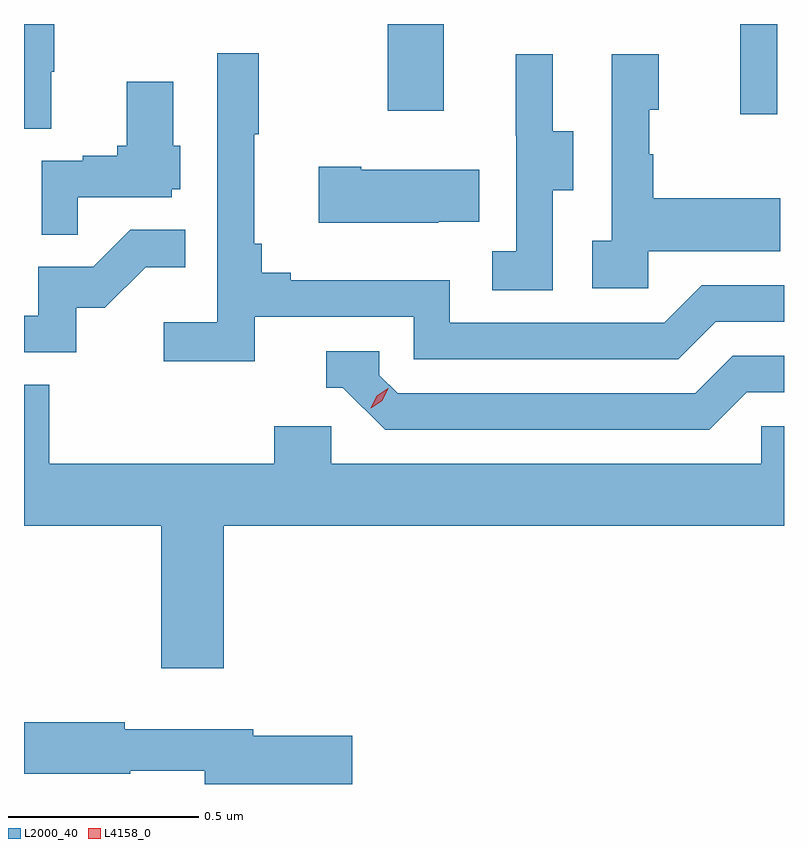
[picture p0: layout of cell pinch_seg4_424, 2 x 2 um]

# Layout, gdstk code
import gdstk
lib = gdstk.Library(unit=1e-6, precision=1e-09)
def R(c, l, rs):  # rectangles x0, y0, x1, y1
    for r in rs: c.add(gdstk.rectangle(r[:2], r[2:], *l))
def P(c, l, *ps):  # polygons
    for p in ps: c.add(gdstk.Polygon(p, *l))
L2000_40 = (2000, 40)
L4158_0 = (4158, 0)

pinch_seg4_424 = lib.new_cell('pinch_seg4_424')
R(pinch_seg4_424, L2000_40, [(1017.68,787.248,1017.777,787.485), (1016.752,787.257,1016.899,787.485)])
P(pinch_seg4_424, L2000_40, [(1015.867,787.359),(1015.875,787.359),(1015.875,787.485),(1015.795,787.485),(1015.795,787.21),(1015.867,787.21)],
  [(1016.402,786.714),(1016.82,786.714),(1016.82,786.603),(1017.517,786.603),(1017.616,786.702),(1017.795,786.702),(1017.795,786.798),(1017.579,786.798),(1017.48,786.699),(1016.916,786.699),(1016.916,786.811),(1016.497,786.811),(1016.497,786.83),(1016.42,786.83),(1016.42,786.907),(1016.401,786.907),(1016.401,787.195),(1016.413,787.195),(1016.413,787.408),(1016.304,787.408),(1016.304,786.7),(1016.163,786.7),(1016.163,786.598),(1016.402,786.598)],
  [(1017.186,787.048),(1017.241,787.048),(1017.241,787.203),(1017.187,787.203),(1017.187,787.405),(1017.089,787.405),(1017.089,787.191),(1017.09,787.191),(1017.09,786.887),(1017.027,786.887),(1017.027,786.784),(1017.186,786.784)],
  [(1017.438,786.887),(1017.785,786.887),(1017.785,787.027),(1017.451,787.027),(1017.451,787.142),(1017.441,787.142),(1017.441,787.26),(1017.466,787.26),(1017.466,787.405),(1017.342,787.405),(1017.342,786.914),(1017.291,786.914),(1017.291,786.789),(1017.438,786.789)],
  [(1015.937,787.029),(1016.184,787.029),(1016.184,787.05),(1016.206,787.05),(1016.206,787.164),(1016.188,787.164),(1016.188,787.333),(1016.066,787.333),(1016.066,787.164),(1016.041,787.164),(1016.041,787.138),(1015.949,787.138),(1015.949,787.125),(1015.842,787.125),(1015.842,786.931),(1015.937,786.931)],
  [(1016.885,786.965),(1016.993,786.965),(1016.993,787.102),(1016.683,787.102),(1016.683,787.11),(1016.571,787.11),(1016.571,786.962),(1016.885,786.962)],
  [(1015.932,786.738),(1016.008,786.738),(1016.115,786.845),(1016.219,786.845),(1016.219,786.944),(1016.075,786.944),(1015.977,786.846),(1015.833,786.846),(1015.833,786.717),(1015.795,786.717),(1015.795,786.621),(1015.932,786.621)],
  [(1017.697,786.516),(1017.795,786.516),(1017.795,786.612),(1017.66,786.612),(1017.561,786.513),(1016.778,786.513),(1016.73,786.561),(1016.73,786.624),(1016.591,786.624),(1016.591,786.528),(1016.634,786.528),(1016.745,786.417),(1017.598,786.417)],
  [(1016.32,786.164),(1017.795,786.164),(1017.795,786.426),(1017.735,786.426),(1017.735,786.328),(1016.604,786.328),(1016.604,786.426),(1016.453,786.426),(1016.453,786.328),(1015.862,786.328),(1015.862,786.536),(1015.795,786.536),(1015.795,786.164),(1016.156,786.164),(1016.156,785.79),(1016.32,785.79)],
  [(1016.659,785.612),(1016.398,785.612),(1016.398,785.629),(1016.06,785.629),(1016.06,785.648),(1015.795,785.648),(1015.795,785.512),(1016.074,785.512),(1016.074,785.52),(1016.27,785.52),(1016.27,785.485),(1016.659,785.485)])
P(pinch_seg4_424, L4158_0, [(1016.707,786.474),(1016.707,786.475),(1016.723,786.507),(1016.754,786.527),(1016.754,786.527),(1016.754,786.527),(1016.738,786.494),(1016.708,786.474)])

lib.write_gds('pinch_seg4_424.gds')
